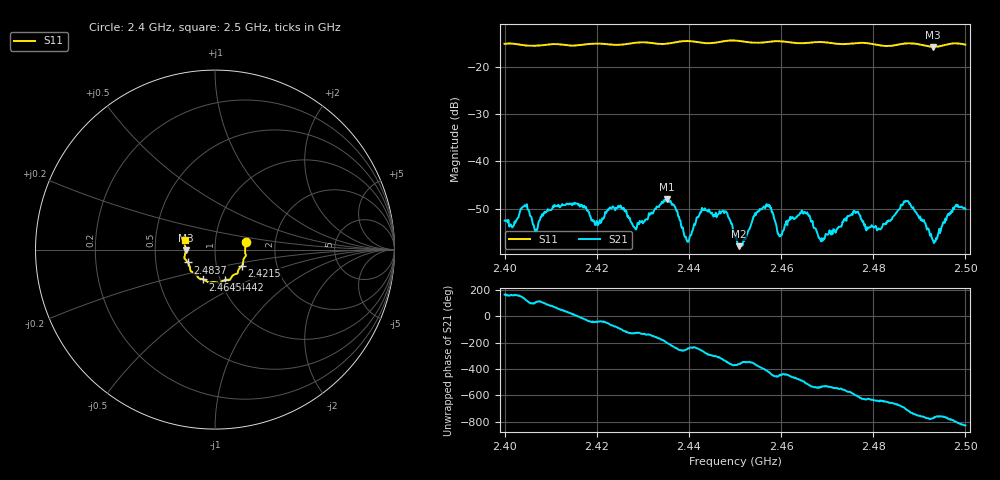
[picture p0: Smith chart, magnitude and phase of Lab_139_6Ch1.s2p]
# Hz S RI R 50
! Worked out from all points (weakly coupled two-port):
!   601 points, 2.4 GHz to 2.5 GHz, reference 50 ohm
!   highest |S21| = -48.02 dB at 2.4352 GHz (marker M1); lowest = -57.9 dB at 2.4508 GHz (marker M2)
!   lowest |S11| = -15.7 dB at 2.493 GHz (marker M3), VSWR 1.39, Z = 36 - j0.213 ohm
!   |S11| at or under -10 dB: start of sweep to end of sweep
!   S12 and S22 are empty: the file has one direction only
!   S11 on the Smith chart (normalised r, x): 2.4 GHz: 1.41, +0.12; 2.4215 GHz: 1.33, -0.25; 2.4442 GHz: 1.05, -0.37; 2.4645 GHz: 0.83, -0.29; 2.4837 GHz: 0.73, -0.11; 2.5 GHz: 0.71, +0.07
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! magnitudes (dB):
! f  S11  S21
! 2.4 GHz  -15.1  -52.5
! 2.4167 GHz  -15.3  -49.3
! 2.4215 GHz  -15.1  -52.0
! 2.4252 GHz  -15.3  -49.3
! 2.4283 GHz  -14.9  -54.1
! 2.4333 GHz  -15.1  -49.6
! 2.4352 GHz  -15.1  -48.0
! 2.4395 GHz  -14.5  -56.6
! 2.4442 GHz  -15.0  -50.6
! 2.45 GHz  -14.4  -55.9
! 2.4508 GHz  -14.5  -57.9
! 2.4567 GHz  -14.7  -49.5
! 2.4597 GHz  -14.5  -55.8
! 2.4645 GHz  -15.0  -50.4
! 2.4667 GHz  -14.8  -52.7
! 2.4688 GHz  -14.7  -56.3
! 2.4762 GHz  -15.0  -50.9
! 2.4833 GHz  -15.6  -52.4
! 2.4837 GHz  -15.5  -52.6
! 2.4875 GHz  -15.0  -48.4
! 2.493 GHz  -15.7  -56.7
! 2.5 GHz  -15.2  -50.0
